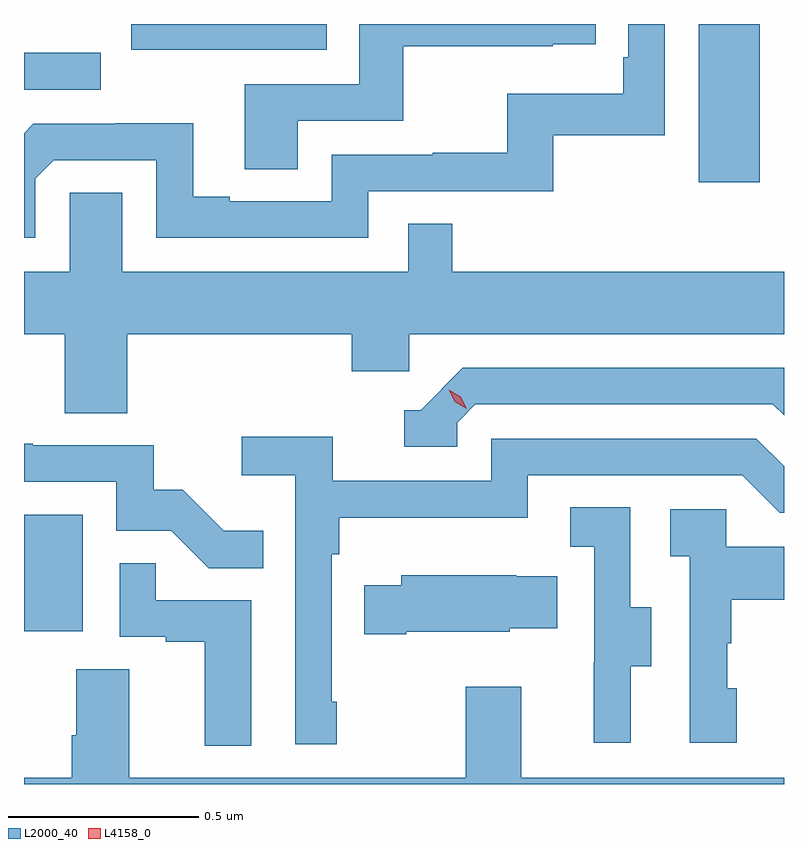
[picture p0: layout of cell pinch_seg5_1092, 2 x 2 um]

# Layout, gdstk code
import gdstk
lib = gdstk.Library(unit=1e-6, precision=1e-09)
def R(c, l, rs):  # rectangles x0, y0, x1, y1
    for r in rs: c.add(gdstk.rectangle(r[:2], r[2:], *l))
def P(c, l, *ps):  # polygons
    for p in ps: c.add(gdstk.Polygon(p, *l))
L2000_40 = (2000, 40)
L4158_0 = (4158, 0)

pinch_seg5_1092 = lib.new_cell('pinch_seg5_1092')
R(pinch_seg5_1092, L2000_40, [(879.282,870.63,879.436,870.937), (881.057,871.812,881.218,872.228), (879.282,872.055,879.484,872.152), (879.564,872.16,880.079,872.228)])
P(pinch_seg5_1092, L2000_40, [(880.003,871.974),(880.28,871.974),(880.28,872.17),(880.673,872.17),(880.673,872.175),(880.786,872.175),(880.786,872.228),(880.164,872.228),(880.164,872.07),(879.863,872.07),(879.863,871.846),(880.003,871.846)],
  [(879.312,871.821),(879.36,871.869),(879.63,871.869),(879.63,871.665),(880.188,871.665),(880.188,871.788),(880.675,871.788),(880.675,871.935),(880.968,871.935),(880.968,872.228),(880.872,872.228),(880.872,872.14),(880.859,872.14),(880.859,872.044),(880.554,872.044),(880.554,871.889),(880.357,871.889),(880.357,871.884),(880.092,871.884),(880.092,871.761),(879.823,871.761),(879.823,871.774),(879.727,871.774),(879.727,871.967),(879.522,871.967),(879.522,871.965),(879.306,871.965),(879.282,871.941),(879.282,871.665),(879.312,871.665)],
  [(879.554,871.412),(880.145,871.412),(880.145,871.314),(880.296,871.314),(880.296,871.412),(881.282,871.412),(881.282,871.576),(880.409,871.576),(880.409,871.703),(880.293,871.703),(880.293,871.576),(879.541,871.576),(879.541,871.784),(879.402,871.784),(879.402,871.576),(879.282,871.576),(879.282,871.412),(879.389,871.412),(879.389,871.204),(879.554,871.204)],
  [(880.422,871.179),(880.47,871.227),(881.253,871.227),(881.282,871.198),(881.282,871.323),(880.437,871.323),(880.326,871.212),(880.283,871.212),(880.283,871.116),(880.422,871.116)],
  [(880.105,870.445),(880.092,870.445),(880.092,870.833),(880.112,870.833),(880.112,870.929),(880.608,870.929),(880.608,871.041),(881.172,871.041),(881.271,870.942),(881.282,870.942),(881.282,871.064),(881.209,871.137),(880.512,871.137),(880.512,871.026),(880.094,871.026),(880.094,871.142),(879.855,871.142),(879.855,871.04),(879.996,871.04),(879.996,870.333),(880.105,870.333)],
  [(879.911,870.895),(879.807,870.895),(879.7,871.002),(879.624,871.002),(879.624,871.119),(879.305,871.119),(879.305,871.124),(879.282,871.124),(879.282,871.023),(879.525,871.023),(879.525,870.894),(879.67,870.894),(879.768,870.796),(879.911,870.796)],
  [(880.879,870.538),(880.933,870.538),(880.933,870.693),(880.878,870.693),(880.878,870.956),(880.719,870.956),(880.719,870.853),(880.782,870.853),(880.782,870.549),(880.781,870.549),(880.781,870.336),(880.879,870.336)],
  [(881.158,870.48),(881.133,870.48),(881.133,870.599),(881.143,870.599),(881.143,870.713),(881.282,870.713),(881.282,870.853),(881.13,870.853),(881.13,870.951),(880.983,870.951),(880.983,870.827),(881.034,870.827),(881.034,870.336),(881.158,870.336)],
  [(879.88,870.711),(879.629,870.711),(879.629,870.809),(879.534,870.809),(879.534,870.615),(879.655,870.615),(879.655,870.603),(879.758,870.603),(879.758,870.329),(879.88,870.329)],
  [(880.288,870.629),(880.56,870.629),(880.56,870.638),(880.685,870.638),(880.685,870.775),(880.577,870.775),(880.577,870.778),(880.275,870.778),(880.275,870.751),(880.177,870.751),(880.177,870.622),(880.288,870.622)],
  [(881.282,870.244),(880.591,870.244),(880.591,870.484),(880.444,870.484),(880.444,870.244),(879.559,870.244),(879.559,870.53),(879.419,870.53),(879.419,870.356),(879.407,870.356),(879.407,870.244),(879.282,870.244),(879.282,870.228),(881.282,870.228)])
P(pinch_seg5_1092, L4158_0, [(880.447,871.215),(880.416,871.234),(880.4,871.266),(880.4,871.266),(880.4,871.266),(880.431,871.247),(880.447,871.215),(880.447,871.215)])

lib.write_gds('pinch_seg5_1092.gds')
